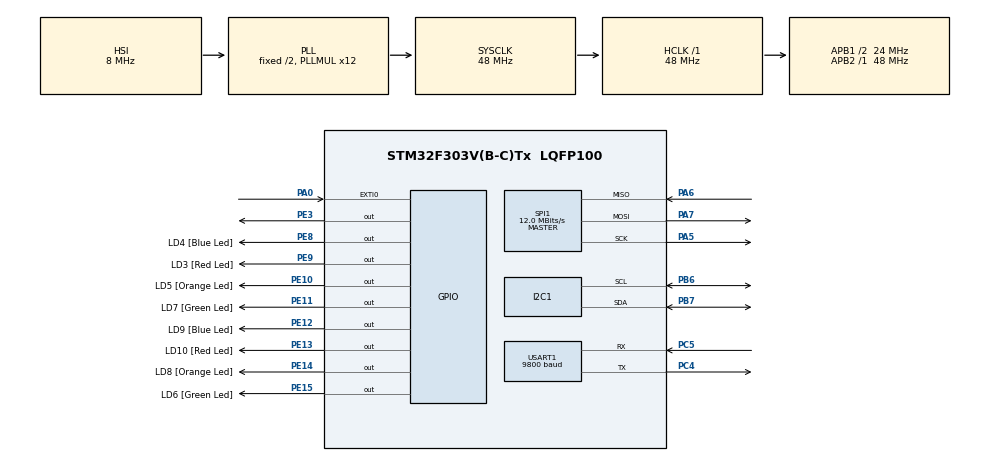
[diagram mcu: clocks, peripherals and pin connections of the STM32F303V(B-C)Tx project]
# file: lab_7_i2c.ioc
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Mcu.Family=STM32F3
Mcu.Name=STM32F303V(B-C)Tx
Mcu.Package=LQFP100
NVIC.EXTI0_IRQn=true\:0\:0\:false\:false\:true\:true\:true
NVIC.PriorityGroup=NVIC_PRIORITYGROUP_0
NVIC.USART1_IRQn=true\:0\:0\:false\:false\:true\:true\:true
PA0.Signal=GPXTI0
PA5.Mode=Full_Duplex_Master
PA5.Signal=SPI1_SCK
PA6.Mode=Full_Duplex_Master
PA6.Signal=SPI1_MISO
PA7.Mode=Full_Duplex_Master
PA7.Signal=SPI1_MOSI
PB6.Mode=I2C
PB6.Signal=I2C1_SCL
PB7.Mode=I2C
PB7.Signal=I2C1_SDA
PC4.Mode=Asynchronous
PC4.Signal=USART1_TX
PC5.Mode=Asynchronous
PC5.Signal=USART1_RX
PE10.GPIO_Label=LD5 [Orange Led]
PE10.GPIO_ModeDefaultOutputPP=GPIO_MODE_OUTPUT_PP
PE10.GPIO_PuPd=GPIO_NOPULL
PE10.GPIO_Speed=GPIO_SPEED_FREQ_LOW
PE10.Signal=GPIO_Output
PE11.GPIO_Label=LD7 [Green Led]
PE11.GPIO_ModeDefaultOutputPP=GPIO_MODE_OUTPUT_PP
PE11.GPIO_PuPd=GPIO_NOPULL
PE11.GPIO_Speed=GPIO_SPEED_FREQ_LOW
PE11.Signal=GPIO_Output
PE12.GPIO_Label=LD9 [Blue Led]
PE12.GPIO_ModeDefaultOutputPP=GPIO_MODE_OUTPUT_PP
PE12.GPIO_PuPd=GPIO_NOPULL
PE12.GPIO_Speed=GPIO_SPEED_FREQ_LOW
PE12.Signal=GPIO_Output
PE13.GPIO_Label=LD10 [Red Led]
PE13.GPIO_ModeDefaultOutputPP=GPIO_MODE_OUTPUT_PP
PE13.GPIO_PuPd=GPIO_NOPULL
PE13.GPIO_Speed=GPIO_SPEED_FREQ_LOW
PE13.Signal=GPIO_Output
PE14.GPIO_Label=LD8 [Orange Led]
PE14.GPIO_ModeDefaultOutputPP=GPIO_MODE_OUTPUT_PP
PE14.GPIO_PuPd=GPIO_NOPULL
PE14.GPIO_Speed=GPIO_SPEED_FREQ_LOW
PE14.Signal=GPIO_Output
PE15.GPIO_Label=LD6 [Green Led]
PE15.GPIO_ModeDefaultOutputPP=GPIO_MODE_OUTPUT_PP
PE15.GPIO_PuPd=GPIO_NOPULL
PE15.GPIO_Speed=GPIO_SPEED_FREQ_LOW
PE15.Signal=GPIO_Output
PE3.Signal=GPIO_Output
PE8.GPIO_Label=LD4 [Blue Led]
PE8.GPIO_ModeDefaultOutputPP=GPIO_MODE_OUTPUT_PP
PE8.GPIO_PuPd=GPIO_NOPULL
PE8.GPIO_Speed=GPIO_SPEED_FREQ_LOW
PE8.Signal=GPIO_Output
PE9.GPIO_Label=LD3 [Red Led]
PE9.GPIO_ModeDefaultOutputPP=GPIO_MODE_OUTPUT_PP
PE9.GPIO_PuPd=GPIO_NOPULL
PE9.GPIO_Speed=GPIO_SPEED_FREQ_LOW
PE9.Signal=GPIO_Output
ProjectManager.HeapSize=0x200
ProjectManager.StackSize=0x400
ProjectManager.TargetToolchain=SW4STM32
RCC.AHBFreq_Value=48000000
RCC.APB1CLKDivider=RCC_HCLK_DIV2
RCC.APB1Freq_Value=24000000
RCC.APB1TimFreq_Value=48000000
RCC.APB2Freq_Value=48000000
RCC.APB2TimFreq_Value=48000000
RCC.CortexFreq_Value=48000000
RCC.HCLKFreq_Value=48000000
RCC.HSE_VALUE=8000000
RCC.HSI_VALUE=8000000
RCC.LSE_VALUE=32768
RCC.PLLMUL=RCC_PLL_MUL12
RCC.SYSCLKFreq_VALUE=48000000
RCC.SYSCLKSourceVirtual=RCC_SYSCLKSOURCE_PLLCLK
RCC.USBFreq_Value=48000000
SPI1.BaudRatePrescaler=SPI_BAUDRATEPRESCALER_4
SPI1.CLKPolarity=SPI_POLARITY_HIGH
SPI1.CalculateBaudRate=12.0 MBits/s
SPI1.DataSize=SPI_DATASIZE_8BIT
SPI1.Direction=SPI_DIRECTION_2LINES
SPI1.Mode=SPI_MODE_MASTER
SPI1.VirtualType=VM_MASTER
USART1.BaudRate=9800
USART1.VirtualMode-Asynchronous=VM_ASYNC
board=STM32F3DISCOVERY

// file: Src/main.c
/* USER CODE BEGIN Header */
/**
  ******************************************************************************
  * @file           : main.c
  * @brief          : Main program body
  ******************************************************************************
  * @attention
  *
  * <h2><center>&copy; Copyright (c) 2019 STMicroelectronics.
  * All rights reserved.</center></h2>
  *
  * This software component is licensed by ST under BSD 3-Clause license,
  * the "License"; You may not use this file except in compliance with the
  * License. You may obtain a copy of the License at:
  *                        opensource.org/licenses/BSD-3-Clause
  *
  ******************************************************************************
  */
/* USER CODE END Header */

#include "main.h"
#include "i2c.h"
#include "spi.h"
#include "usart.h"
#include "gpio.h"

/* USER CODE BEGIN Includes */
#include <string.h>
#include <stdio.h>
#include <math.h>
#include "stm32f3_discovery_accelerometer.h"
#include "stm32f3_discovery_gyroscope.h"
/* USER CODE END Includes */

void SystemClock_Config(void);

/* USER CODE BEGIN 0 */
uint8_t byte;

void print_float(char *s, char *name, double num) {
    char *tmpSign = (num < 0) ? "-" : "";
    double tmpVal = (num < 0) ? -num : num;

    int tmpInt1 = (int) tmpVal;                  // Get the integer (678).
    double tmpFrac = tmpVal - tmpInt1;      // Get fraction (0.0123).
    int tmpInt2 = (int) (tmpFrac * 1000.0);  // Turn into integer (123).

    sprintf((char *) s, "%s = %s%d.%04d\n", name, tmpSign, tmpInt1, tmpInt2);
}

#define PRINT_FLOAT_MAX_SIZE 40

void print_xyz(char *s, double x, double y, double z) {
    char sx[PRINT_FLOAT_MAX_SIZE], sy[PRINT_FLOAT_MAX_SIZE], sz[PRINT_FLOAT_MAX_SIZE], module[PRINT_FLOAT_MAX_SIZE];
    print_float((char *) sx, "x", (x / 16.0) / 1000.0);
    print_float((char *) sy, "y", (y / 16.0) / 1000.0);
    print_float((char *) sz, "z", (z / 16.0) / 1000.0);
    print_float((char *) module, "module", (sqrt(x * x + y * y + z * z) / 16.0) / 1000.0);
//    sprintf(s, "\n%s", sz);
    sprintf(s, "\n%s%s%s%s", sx, sy, sz, module);
}
/* USER CODE END 0 */

int main(void) {

    /* MCU Configuration--------------------------------------------------------*/

    /* Reset of all peripherals, Initializes the Flash interface and the Systick. */
    HAL_Init();

    /* Configure the system clock */
    SystemClock_Config();

    /* Initialize all configured peripherals */
    MX_GPIO_Init();
    MX_I2C1_Init();
    MX_USART1_UART_Init();
    MX_SPI1_Init();
    /* USER CODE BEGIN 2 */
    HAL_UART_Receive_IT(&huart1, &byte, 1); // start the interrupt for data receiving
    if (BSP_ACCELERO_Init() != HAL_OK || BSP_GYRO_Init() != GYRO_OK) {
        /* Initialization Error */
        uint8_t str_err[100] = "Accelerometer or Gyroscope Initialization Error";
        HAL_UART_Transmit(&huart1, str_err, strlen((char *) str_err), 100);
        while (1) {}
    }
    /* USER CODE END 2 */

    /* Infinite loop */
    /* USER CODE BEGIN WHILE */

    int16_t buffer[3] = {0};
    double max_acc = 0.0;
    float fbuffer[3] = {(float) 0.0};
    double max_gyro = 0.0;
    uint8_t str[100];
    double x;
    double y;
    double z;

    while (1) {
        HAL_GPIO_TogglePin(GPIOE, GPIO_PIN_12);
        HAL_Delay(1000);

        BSP_ACCELERO_GetXYZ(buffer);
        sprintf((char *) str, "\naccelerometer:");
        print_xyz((char *) str + strlen((char *) str), (double) buffer[0], (double) buffer[1], (double) buffer[2]);
        HAL_UART_Transmit(&huart1, str, strlen((char *) str), 100);

        BSP_GYRO_GetXYZ((float*) fbuffer);
        sprintf((char *) str, "\ngyro:");
        print_xyz((char *) str + strlen((char *) str), ((double) fbuffer[0]), ((double) fbuffer[1]), ((double) fbuffer[2]));
        HAL_UART_Transmit(&huart1, str, strlen((char *) str), 100);

        x = (double) buffer[0];
        y = (double) buffer[1];
        z = (double) buffer[2];

         max_acc = fmax(sqrt(x * x + y * y + z * z) / 16.0 / 1000.0, max_acc);

        x = (double) fbuffer[0];
        y = (double) fbuffer[1];
        z = (double) fbuffer[2];
         max_gyro = fmax(sqrt(x * x + y * y + z * z) / 16.0 / 1000.0, max_gyro);

         print_float((char*)str, "max_acc", max_acc);
        HAL_UART_Transmit(&huart1, str, strlen((char *) str), 100);

        print_float((char*)str, "max_gyro", max_gyro);
        HAL_UART_Transmit(&huart1, str, strlen((char *) str), 100);
        /* USER CODE END WHILE */

    }
}

void SystemClock_Config(void) {
    RCC_OscInitTypeDef RCC_OscInitStruct = {0};
    RCC_ClkInitTypeDef RCC_ClkInitStruct = {0};
    RCC_PeriphCLKInitTypeDef PeriphClkInit = {0};

    /** Initializes the CPU, AHB and APB busses clocks
    */
    RCC_OscInitStruct.OscillatorType = RCC_OSCILLATORTYPE_HSI;
    RCC_OscInitStruct.HSIState = RCC_HSI_ON;
    RCC_OscInitStruct.HSICalibrationValue = RCC_HSICALIBRATION_DEFAULT;
    RCC_OscInitStruct.PLL.PLLState = RCC_PLL_ON;
    RCC_OscInitStruct.PLL.PLLSource = RCC_PLLSOURCE_HSI;
    RCC_OscInitStruct.PLL.PLLMUL = RCC_PLL_MUL12;
    if (HAL_RCC_OscConfig(&RCC_OscInitStruct) != HAL_OK) {
        Error_Handler();
    }
    /** Initializes the CPU, AHB and APB busses clocks
    */
    RCC_ClkInitStruct.ClockType = RCC_CLOCKTYPE_HCLK | RCC_CLOCKTYPE_SYSCLK
                                  | RCC_CLOCKTYPE_PCLK1 | RCC_CLOCKTYPE_PCLK2;
    RCC_ClkInitStruct.SYSCLKSource = RCC_SYSCLKSOURCE_PLLCLK;
    RCC_ClkInitStruct.AHBCLKDivider = RCC_SYSCLK_DIV1;
    RCC_ClkInitStruct.APB1CLKDivider = RCC_HCLK_DIV2;
    RCC_ClkInitStruct.APB2CLKDivider = RCC_HCLK_DIV1;

    if (HAL_RCC_ClockConfig(&RCC_ClkInitStruct, FLASH_LATENCY_1) != HAL_OK) {
        Error_Handler();
    }
    PeriphClkInit.PeriphClockSelection = RCC_PERIPHCLK_USART1 | RCC_PERIPHCLK_I2C1;
    PeriphClkInit.Usart1ClockSelection = RCC_USART1CLKSOURCE_PCLK2;
    PeriphClkInit.I2c1ClockSelection = RCC_I2C1CLKSOURCE_HSI;
    if (HAL_RCCEx_PeriphCLKConfig(&PeriphClkInit) != HAL_OK) {
        Error_Handler();
    }
}

/* USER CODE BEGIN 4 */
void HAL_GPIO_EXTI_Callback(uint16_t GPIO_Pin) {

    if (GPIO_Pin == GPIO_PIN_0) { // button hendler
        static uint32_t last_change_tick;
        if (HAL_GetTick() - last_change_tick < 50) {
            return;
        }
        // do
        HAL_GPIO_TogglePin(GPIOE, GPIO_PIN_15);
        last_change_tick = HAL_GetTick();

    }
}

// receive and send data through bluetooth
void HAL_UART_RxCpltCallback(UART_HandleTypeDef *huart) {
    if (huart->Instance == USART2) {
        if (byte == '1') {
            //HAL_UART_Transmit(&huart2, str2, strlen((char*)str2), 100);
            HAL_GPIO_TogglePin(GPIOE, GPIO_PIN_12);
            //str2[99] = '\0';
        }
        HAL_UART_Receive_IT(&huart1, &byte, 1);
    }
}
/* USER CODE END 4 */

void Error_Handler(void) {
}

/************************ (C) COPYRIGHT STMicroelectronics *****END OF FILE****/
